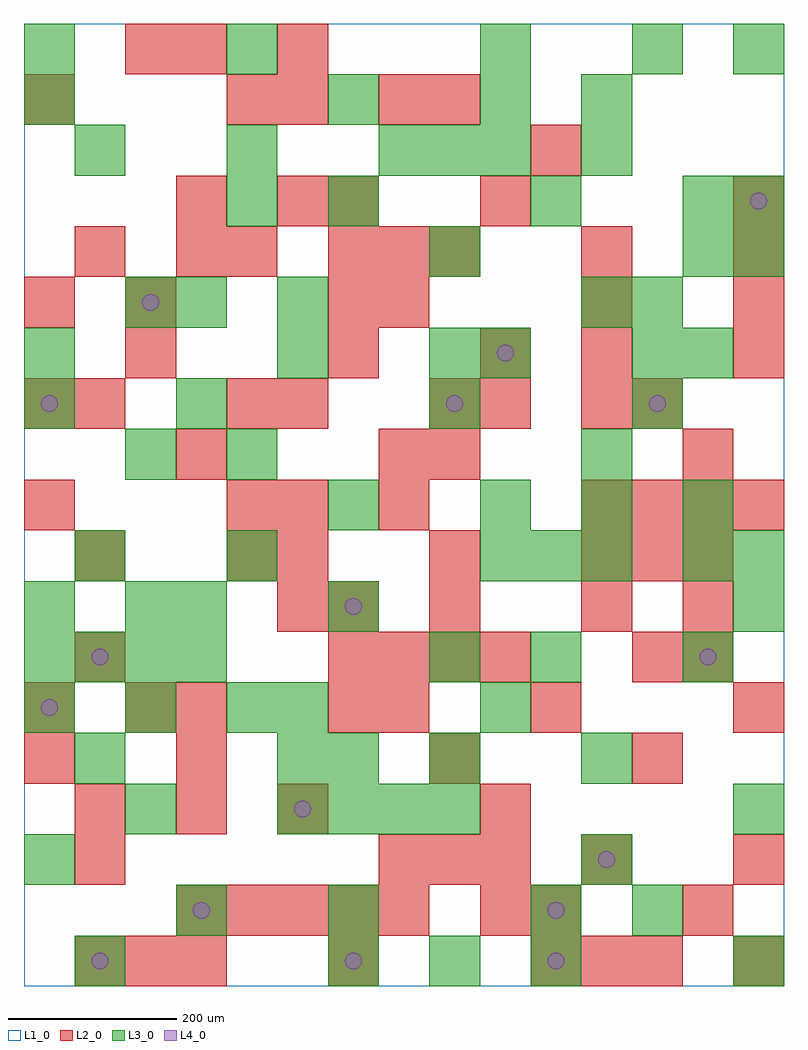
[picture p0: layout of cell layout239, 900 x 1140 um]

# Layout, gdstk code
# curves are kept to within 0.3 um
import gdstk
lib = gdstk.Library(unit=1e-6, precision=1e-09)
def R(c, l, rs):  # rectangles x0, y0, x1, y1
    for r in rs: c.add(gdstk.rectangle(r[:2], r[2:], *l))
def A(c, l, x, y, w, h, nx, ny, dx, dy):  # array of equal rectangles
    R(c, l, [(x+i*dx, y+j*dy, x+i*dx+w, y+j*dy+h) for i in range(nx) for j in range(ny)])
def P(c, l, *ps):  # polygons
    for p in ps: c.add(gdstk.Polygon(p, *l))
L1_0 = (1, 0)
L2_0 = (2, 0)
L3_0 = (3, 0)
L4_0 = (4, 0)

layout239 = lib.new_cell('layout239')
R(layout239, L1_0, [(0,0,900,1140)])
A(layout239, L2_0, 60, 0, 60, 60, 3, 1, 60, 0)
A(layout239, L2_0, 600, 0, 60, 60, 3, 1, 60, 0)
A(layout239, L2_0, 180, 60, 60, 60, 5, 1, 60, 0)
A(layout239, L2_0, 420, 120, 60, 60, 3, 1, 60, 0)
A(layout239, L2_0, 60, 180, 60, 60, 3, 1, 120, 0)
A(layout239, L2_0, 480, 240, 60, 60, 1, 3, 0, 180)
A(layout239, L2_0, 720, 240, 60, 60, 1, 3, 0, 120)
A(layout239, L2_0, 360, 360, 60, 60, 4, 1, 60, 0)
A(layout239, L2_0, 780, 360, 60, 60, 1, 3, 0, 60)
A(layout239, L2_0, 300, 420, 60, 60, 1, 3, 0, 120)
A(layout239, L2_0, 60, 480, 60, 60, 1, 3, 0, 180)
A(layout239, L2_0, 300, 480, 60, 60, 3, 1, 180, 0)
A(layout239, L2_0, 0, 540, 60, 60, 1, 3, 0, 120)
A(layout239, L2_0, 660, 540, 60, 60, 4, 1, 60, 0)
A(layout239, L2_0, 240, 660, 60, 60, 1, 3, 0, 180)
A(layout239, L2_0, 660, 660, 60, 60, 1, 4, 0, 60)
A(layout239, L2_0, 840, 720, 60, 60, 1, 4, 0, 60)
A(layout239, L2_0, 360, 840, 60, 60, 3, 1, 60, 0)
R(layout239, L2_0, [(360,0,420,60), (840,0,900,60), (540,60,600,120), (600,60,660,120), (780,60,840,120), (60,120,120,180), (660,120,720,180), (840,120,900,180), (540,180,600,240), (0,240,60,300), (180,240,240,300), (0,300,60,360), (120,300,180,360), (180,300,240,360), (360,300,420,360), (420,300,480,360), (600,300,660,360), (840,300,900,360), (60,360,120,420), (360,420,420,480), (660,420,720,480), (240,480,300,540), (240,540,300,600), (420,540,480,600), (180,600,240,660), (420,600,480,660), (780,600,840,660), (480,660,540,720), (540,660,600,720), (720,660,780,720), (120,720,180,780), (360,720,420,780), (540,720,600,780), (120,780,180,840), (360,780,420,840), (420,780,480,840), (180,840,240,900), (180,900,240,960), (300,900,360,960), (360,900,420,960), (540,900,600,960), (600,960,660,1020), (0,1020,60,1080), (300,1020,360,1080), (420,1020,480,1080), (480,1020,540,1080), (120,1080,180,1140), (180,1080,240,1140), (300,1080,360,1140)])
A(layout239, L3_0, 60, 0, 60, 60, 1, 3, 0, 240)
A(layout239, L3_0, 360, 0, 60, 60, 3, 1, 120, 0)
A(layout239, L3_0, 360, 60, 60, 60, 1, 3, 0, 180)
A(layout239, L3_0, 300, 180, 60, 60, 4, 1, 60, 0)
A(layout239, L3_0, 0, 300, 60, 60, 3, 1, 120, 0)
A(layout239, L3_0, 0, 360, 60, 60, 4, 1, 60, 0)
A(layout239, L3_0, 120, 420, 60, 60, 1, 3, 0, 180)
A(layout239, L3_0, 540, 480, 60, 60, 3, 1, 60, 0)
A(layout239, L3_0, 540, 540, 60, 60, 3, 1, 120, 0)
A(layout239, L3_0, 660, 600, 60, 60, 1, 3, 0, 180)
A(layout239, L3_0, 720, 660, 60, 60, 1, 3, 0, 60)
A(layout239, L3_0, 480, 720, 60, 60, 1, 3, 0, 120)
A(layout239, L3_0, 60, 960, 60, 60, 3, 1, 180, 0)
A(layout239, L3_0, 540, 960, 60, 60, 1, 3, 0, 60)
R(layout239, L3_0, [(840,0,900,60), (180,60,240,120), (600,60,660,120), (720,60,780,120), (0,120,60,180), (660,120,720,180), (120,180,180,240), (840,180,900,240), (300,240,360,300), (480,240,540,300), (660,240,720,300), (300,300,360,360), (540,300,600,360), (480,360,540,420), (600,360,660,420), (780,360,840,420), (0,420,60,480), (180,420,240,480), (840,420,900,480), (240,480,300,540), (780,480,840,540), (840,480,900,540), (360,540,420,600), (240,600,300,660), (0,660,60,720), (180,660,240,720), (480,660,540,720), (0,720,60,780), (300,720,360,780), (540,720,600,780), (780,720,840,780), (180,780,240,840), (300,780,360,840), (780,840,840,900), (840,840,900,900), (240,900,300,960), (360,900,420,960), (600,900,660,960), (780,900,840,960), (840,900,900,960), (0,1020,60,1080), (360,1020,420,1080), (660,1020,720,1080), (0,1080,60,1140), (240,1080,300,1140), (720,1080,780,1140), (840,1080,900,1140)])
P(layout239, L4_0, [(40,330),(39.239,333.827),(37.071,337.071),(33.827,339.239),(30,340),(26.173,339.239),(22.929,337.071),(20.761,333.827),(20,330),(20.761,326.173),(22.929,322.929),(26.173,320.761),(30,320),(33.827,320.761),(37.071,322.929),(39.239,326.173)],
  [(40,690),(39.239,693.827),(37.071,697.071),(33.827,699.239),(30,700),(26.173,699.239),(22.929,697.071),(20.761,693.827),(20,690),(20.761,686.173),(22.929,682.929),(26.173,680.761),(30,680),(33.827,680.761),(37.071,682.929),(39.239,686.173)],
  [(100,30),(99.239,33.827),(97.071,37.071),(93.827,39.239),(90,40),(86.173,39.239),(82.929,37.071),(80.761,33.827),(80,30),(80.761,26.173),(82.929,22.929),(86.173,20.761),(90,20),(93.827,20.761),(97.071,22.929),(99.239,26.173)],
  [(100,390),(99.239,393.827),(97.071,397.071),(93.827,399.239),(90,400),(86.173,399.239),(82.929,397.071),(80.761,393.827),(80,390),(80.761,386.173),(82.929,382.929),(86.173,380.761),(90,380),(93.827,380.761),(97.071,382.929),(99.239,386.173)],
  [(160,810),(159.239,813.827),(157.071,817.071),(153.827,819.239),(150,820),(146.173,819.239),(142.929,817.071),(140.761,813.827),(140,810),(140.761,806.173),(142.929,802.929),(146.173,800.761),(150,800),(153.827,800.761),(157.071,802.929),(159.239,806.173)],
  [(220,90),(219.239,93.827),(217.071,97.071),(213.827,99.239),(210,100),(206.173,99.239),(202.929,97.071),(200.761,93.827),(200,90),(200.761,86.173),(202.929,82.929),(206.173,80.761),(210,80),(213.827,80.761),(217.071,82.929),(219.239,86.173)],
  [(340,210),(339.239,213.827),(337.071,217.071),(333.827,219.239),(330,220),(326.173,219.239),(322.929,217.071),(320.761,213.827),(320,210),(320.761,206.173),(322.929,202.929),(326.173,200.761),(330,200),(333.827,200.761),(337.071,202.929),(339.239,206.173)],
  [(400,30),(399.239,33.827),(397.071,37.071),(393.827,39.239),(390,40),(386.173,39.239),(382.929,37.071),(380.761,33.827),(380,30),(380.761,26.173),(382.929,22.929),(386.173,20.761),(390,20),(393.827,20.761),(397.071,22.929),(399.239,26.173)],
  [(400,450),(399.239,453.827),(397.071,457.071),(393.827,459.239),(390,460),(386.173,459.239),(382.929,457.071),(380.761,453.827),(380,450),(380.761,446.173),(382.929,442.929),(386.173,440.761),(390,440),(393.827,440.761),(397.071,442.929),(399.239,446.173)],
  [(520,690),(519.239,693.827),(517.071,697.071),(513.827,699.239),(510,700),(506.173,699.239),(502.929,697.071),(500.761,693.827),(500,690),(500.761,686.173),(502.929,682.929),(506.173,680.761),(510,680),(513.827,680.761),(517.071,682.929),(519.239,686.173)],
  [(580,750),(579.239,753.827),(577.071,757.071),(573.827,759.239),(570,760),(566.173,759.239),(562.929,757.071),(560.761,753.827),(560,750),(560.761,746.173),(562.929,742.929),(566.173,740.761),(570,740),(573.827,740.761),(577.071,742.929),(579.239,746.173)],
  [(640,30),(639.239,33.827),(637.071,37.071),(633.827,39.239),(630,40),(626.173,39.239),(622.929,37.071),(620.761,33.827),(620,30),(620.761,26.173),(622.929,22.929),(626.173,20.761),(630,20),(633.827,20.761),(637.071,22.929),(639.239,26.173)],
  [(640,90),(639.239,93.827),(637.071,97.071),(633.827,99.239),(630,100),(626.173,99.239),(622.929,97.071),(620.761,93.827),(620,90),(620.761,86.173),(622.929,82.929),(626.173,80.761),(630,80),(633.827,80.761),(637.071,82.929),(639.239,86.173)],
  [(700,150),(699.239,153.827),(697.071,157.071),(693.827,159.239),(690,160),(686.173,159.239),(682.929,157.071),(680.761,153.827),(680,150),(680.761,146.173),(682.929,142.929),(686.173,140.761),(690,140),(693.827,140.761),(697.071,142.929),(699.239,146.173)],
  [(760,690),(759.239,693.827),(757.071,697.071),(753.827,699.239),(750,700),(746.173,699.239),(742.929,697.071),(740.761,693.827),(740,690),(740.761,686.173),(742.929,682.929),(746.173,680.761),(750,680),(753.827,680.761),(757.071,682.929),(759.239,686.173)],
  [(820,390),(819.239,393.827),(817.071,397.071),(813.827,399.239),(810,400),(806.173,399.239),(802.929,397.071),(800.761,393.827),(800,390),(800.761,386.173),(802.929,382.929),(806.173,380.761),(810,380),(813.827,380.761),(817.071,382.929),(819.239,386.173)],
  [(880,930),(879.239,933.827),(877.071,937.071),(873.827,939.239),(870,940),(866.173,939.239),(862.929,937.071),(860.761,933.827),(860,930),(860.761,926.173),(862.929,922.929),(866.173,920.761),(870,920),(873.827,920.761),(877.071,922.929),(879.239,926.173)])

lib.write_gds('layout239.gds')
